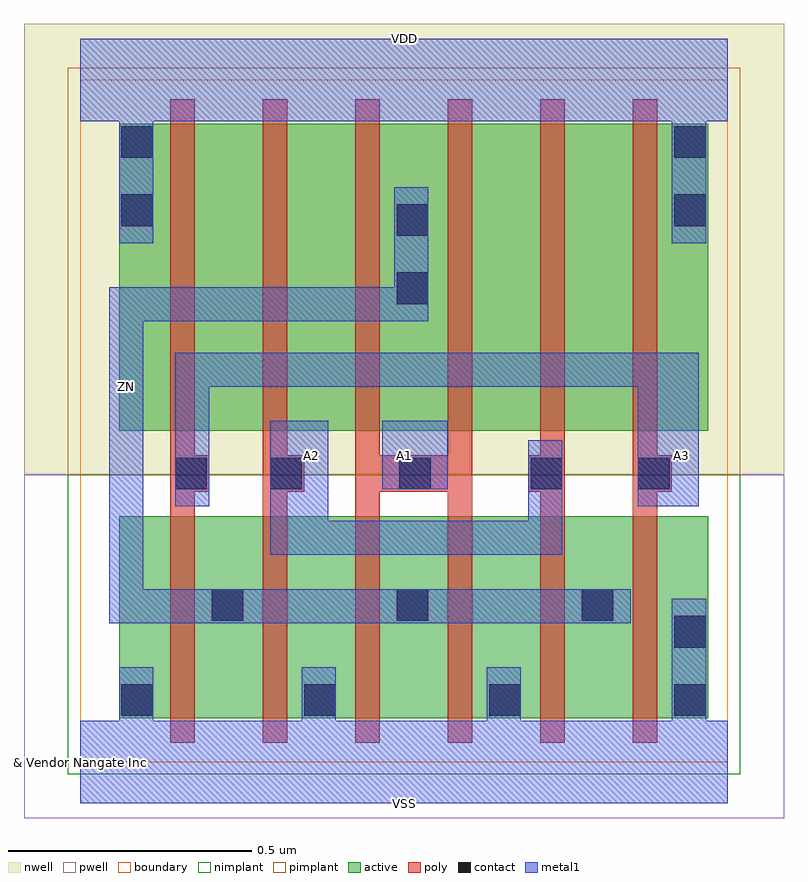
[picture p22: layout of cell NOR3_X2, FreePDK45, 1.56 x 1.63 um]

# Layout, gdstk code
import gdstk
lib = gdstk.Library(unit=1e-6, precision=1e-09)
def R(c, l, rs):  # rectangles x0, y0, x1, y1
    for r in rs: c.add(gdstk.rectangle(r[:2], r[2:], *l))
def A(c, l, x, y, w, h, nx, ny, dx, dy):  # array of equal rectangles
    R(c, l, [(x+i*dx, y+j*dy, x+i*dx+w, y+j*dy+h) for i in range(nx) for j in range(ny)])
def P(c, l, *ps):  # polygons
    for p in ps: c.add(gdstk.Polygon(p, *l))
active = (1, 0)
pwell = (2, 0)
nwell = (3, 0)
nimplant = (4, 0)
pimplant = (5, 0)
poly = (9, 0)
contact = (10, 0)
metal1 = (11, 0)
boundary = (235, 0)

nor3_x2 = lib.new_cell('NOR3_X2')
R(nor3_x2, active, [(0.08,0.09,1.29,0.505), (0.08,0.68,1.29,1.31)])
R(nor3_x2, pwell, [(-0.115,-0.115,1.445,0.59)])
R(nor3_x2, nwell, [(-0.115,0.59,1.445,1.515)])
R(nor3_x2, nimplant, [(-0.025,-0.025,1.355,0.59)])
R(nor3_x2, pimplant, [(-0.025,0.59,1.355,1.425)])
P(nor3_x2, poly, [(0.185,0.04),(0.235,0.04),(0.235,0.555),(0.265,0.555),(0.265,0.63),(0.235,0.63),(0.235,1.36),(0.185,1.36)],
  [(0.375,0.04),(0.425,0.04),(0.425,0.555),(0.46,0.555),(0.46,0.63),(0.425,0.63),(0.425,1.36),(0.375,1.36)],
  [(0.565,0.04),(0.615,0.04),(0.615,0.555),(0.755,0.555),(0.755,0.04),(0.805,0.04),(0.805,1.36),(0.755,1.36),(0.755,0.63),(0.615,0.63),(0.615,1.36),(0.565,1.36)],
  [(0.92,0.555),(0.945,0.555),(0.945,0.04),(0.995,0.04),(0.995,1.36),(0.945,1.36),(0.945,0.63),(0.92,0.63)],
  [(1.135,0.04),(1.185,0.04),(1.185,0.555),(1.215,0.555),(1.215,0.63),(1.185,0.63),(1.185,1.36),(1.135,1.36)])
A(nor3_x2, contact, 0.46, 0.095, 0.065, 0.065, 3, 1, 0.38, 0)
A(nor3_x2, contact, 0.27, 0.29, 0.065, 0.065, 3, 1, 0.38, 0)
R(nor3_x2, contact, [(0.085,0.095,0.15,0.16), (1.22,0.235,1.285,0.3), (0.195,0.56,0.26,0.625), (0.39,0.56,0.455,0.625), (0.655,0.56,0.72,0.625), (0.925,0.56,0.99,0.625), (1.145,0.56,1.21,0.625), (0.65,0.94,0.715,1.005), (0.65,1.08,0.715,1.145), (0.085,1.1,0.15,1.165), (1.22,1.1,1.285,1.165), (0.085,1.24,0.15,1.305), (1.22,1.24,1.285,1.305)])
R(nor3_x2, metal1, [(0.62,0.56,0.755,0.7)])
P(nor3_x2, metal1, [(0.39,0.425),(0.99,0.425),(0.99,0.66),(0.92,0.66),(0.92,0.495),(0.51,0.495),(0.51,0.7),(0.39,0.7)],
  [(0.06,0.285),(1.13,0.285),(1.13,0.355),(0.13,0.355),(0.13,0.905),(0.715,0.905),(0.715,1.18),(0.645,1.18),(0.645,0.975),(0.06,0.975)],
  [(0.195,0.525),(0.265,0.525),(0.265,0.77),(1.145,0.77),(1.145,0.525),(1.27,0.525),(1.27,0.84),(0.195,0.84)],
  [(0,-0.085),(1.33,-0.085),(1.33,0.085),(1.285,0.085),(1.285,0.335),(1.215,0.335),(1.215,0.085),(0.905,0.085),(0.905,0.195),(0.835,0.195),(0.835,0.085),(0.525,0.085),(0.525,0.195),(0.455,0.195),(0.455,0.085),(0.15,0.085),(0.15,0.195),(0.08,0.195),(0.08,0.085),(0,0.085)],
  [(0,1.315),(0.08,1.315),(0.08,1.065),(0.15,1.065),(0.15,1.315),(1.215,1.315),(1.215,1.065),(1.285,1.065),(1.285,1.315),(1.33,1.315),(1.33,1.485),(0,1.485)])
R(nor3_x2, boundary, [(0,0,1.33,1.4)])
nor3_x2.add(gdstk.Label('A1', (0.665,0.63), layer=11, texttype=0))
nor3_x2.add(gdstk.Label('A2', (0.475,0.63), layer=11, texttype=0))
nor3_x2.add(gdstk.Label('A3', (1.235,0.63), layer=11, texttype=0))
nor3_x2.add(gdstk.Label('VDD', (0.665,1.485), layer=11, texttype=0))
nor3_x2.add(gdstk.Label('VSS', (0.665,-0.085), layer=11, texttype=0))
nor3_x2.add(gdstk.Label('ZN', (0.095,0.77), layer=11, texttype=0))
nor3_x2.add(gdstk.Label('& Vendor Nangate Inc', (0,0), layer=63, texttype=63))
nor3_x2.add(gdstk.Label('& Product Open Cell Library', (0,0), layer=63, texttype=63))
nor3_x2.add(gdstk.Label('& Version 2010_12', (0,0), layer=63, texttype=63))
nor3_x2.add(gdstk.Label('& Instance NOR3_X2', (0,0), layer=63, texttype=63))

lib.write_gds('NOR3_X2.gds')
